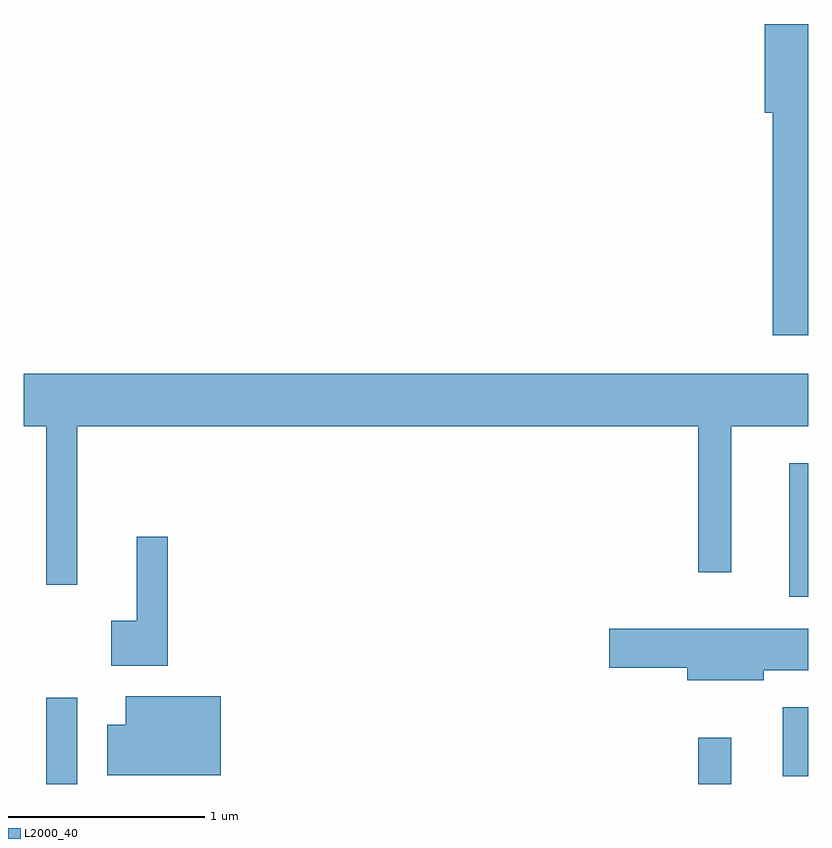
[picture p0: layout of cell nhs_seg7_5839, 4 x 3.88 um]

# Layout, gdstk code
import gdstk
lib = gdstk.Library(unit=1e-6, precision=1e-09)
def R(c, l, rs):  # rectangles x0, y0, x1, y1
    for r in rs: c.add(gdstk.rectangle(r[:2], r[2:], *l))
def P(c, l, *ps):  # polygons
    for p in ps: c.add(gdstk.Polygon(p, *l))
L2000_40 = (2000, 40)

nhs_seg7_5839 = lib.new_cell('nhs_seg7_5839')
R(nhs_seg7_5839, L2000_40, [(363.726,1730.252,363.884,1730.693), (367.051,1730.252,367.219,1730.488), (367.481,1730.291,367.611,1730.644), (367.516,1731.206,367.611,1731.888)])
P(nhs_seg7_5839, L2000_40, [(367.611,1734.129),(367.391,1734.129),(367.391,1733.676),(367.431,1733.676),(367.431,1732.541),(367.611,1732.541)],
  [(363.884,1732.076),(367.051,1732.076),(367.051,1731.333),(367.219,1731.333),(367.219,1732.076),(367.611,1732.076),(367.611,1732.344),(363.611,1732.344),(363.611,1732.076),(363.726,1732.076),(363.726,1731.268),(363.884,1731.268)],
  [(364.344,1731.513),(364.186,1731.513),(364.186,1731.084),(364.056,1731.084),(364.056,1730.856),(364.344,1730.856)],
  [(367.384,1730.831),(367.611,1730.831),(367.611,1731.044),(366.596,1731.044),(366.596,1730.846),(366.996,1730.846),(366.996,1730.781),(367.384,1730.781)],
  [(364.614,1730.699),(364.131,1730.699),(364.131,1730.554),(364.036,1730.554),(364.036,1730.296),(364.614,1730.296)])

lib.write_gds('nhs_seg7_5839.gds')
